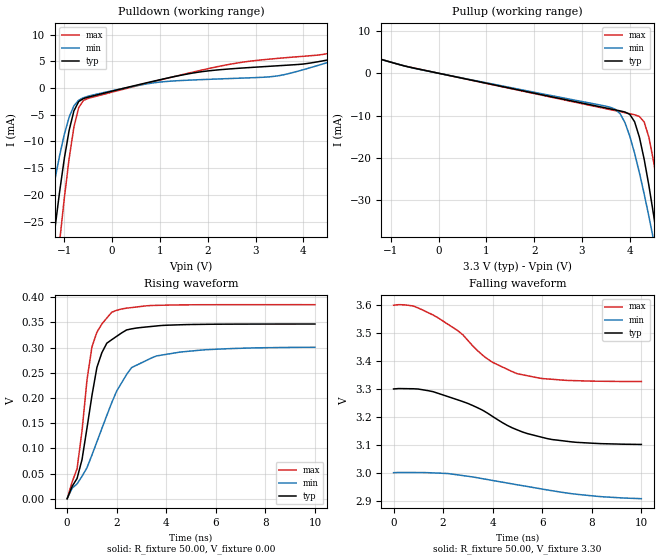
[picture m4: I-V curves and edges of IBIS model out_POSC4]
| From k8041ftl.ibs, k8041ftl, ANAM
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|   Model out_POSC4
[Model]   out_POSC4
Model_type   Output
Polarity   Non-Inverting
Vmeas =  1.50V
C_comp   1.76e-12F   1.76e-12F   1.76e-12F
[Temperature Range]   25   125   0
[Voltage Range]   3.30V   3.00V   3.60V
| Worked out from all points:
|   slope of the pulldown table from 0 to 0.495 V, typ, clamps not added: 458 ohm
|   slope of the pullup table from 0 to 0.495 V, typ, clamps not added: 422 ohm
|   rising waveform, R_fixture 50.00, V_fixture 0.00: 20-80 % time 760ps typ, 1.54ns min, 599ps max; typ from 0 V to 0.347 V
|   falling waveform, R_fixture 50.00, V_fixture 3.30: 20-80 % time 2.76ns typ, 3.72ns min, 2.37ns max; typ from 3.3 V to 3.1 V
[Pullup]
| voltage   I(typ)   I(min)   I(max)
-3.3V     10.25mA    9.917mA    10.39mA
-700mV    1.694mA    1.73mA     1.708mA
3.6V      -8.442mA   -8.078mA   -8.625mA
3.9V      -9.176mA   -11.73mA   -9.339mA
4.1V      -11.48mA   -18.95mA   -9.827mA
4.2V      -15.13mA   -23.55mA   -10.22mA
4.3V      -20.37mA   -28.59mA   -11.55mA
4.4V      -26.69mA   -33.97mA   -15.21mA
4.5V      -33.76mA   -39.63mA   -21.1mA
4.6V      -41.37mA   -45.52mA   -28.45mA
4.7V      -49.39mA   -51.59mA   -36.75mA
6.6V      -220.5mA   -180.8mA   -230.2mA
[Pulldown]
| voltage   I(typ)   I(min)   I(max)
-3.3V     -213.4mA   -153.5mA   -253.4mA
-1.4V     -42.2mA    -27.72mA   -57.03mA
-1.2V     -26.56mA   -17.29mA   -37.84mA
-1.1V     -19.49mA   -12.68mA   -28.87mA
-900mV    -7.925mA   -5.462mA   -13.21mA
-800mV    -4.274mA   -3.335mA   -7.319mA
-700mV    -2.528mA   -2.275mA   -3.652mA
-600mV    -1.965mA   -1.807mA   -2.322mA
1.7V      2.827mA    1.517mA    3.007mA
3.5V      4.191mA    2.335mA    5.582mA
4.7V      5.662mA    5.326mA    6.769mA
6.6V      11.08mA    10.9mA     11.07mA
[Ramp]
| variable   typ   min   max
dV/dt_r   0.21/7.26e-10   0.18/1.53e-09   0.23/5.55e-10
dV/dt_f   0.12/2.76e-09   0.06/3.74e-09   0.17/2.39e-09
R_load = 50.00
[Rising Waveform]
R_fixture = 50.00
V_fixture = 0.00
V_fixture_min = 0.00
V_fixture_max = 0.00
| time   V(typ)   V(min)   V(max)
0s        5.76uV     4.977uV    7.621uV
400ps     40.24mV    29.41mV    59.59mV
600ps     77.83mV    44.48mV    134.8mV
800ps     140.4mV    61.54mV    235.9mV
1ns       204.8mV    86.79mV    301.6mV
1.4ns     290mV      139.3mV    347mV
1.8ns     315.9mV    190.9mV    370.4mV
2.6ns     337.4mV    260.4mV    379.6mV
3.6ns     343.1mV    283.5mV    384mV
10ns      346.9mV    300.8mV    385.4mV
[Falling Waveform]
R_fixture = 50.00
V_fixture = 3.30
V_fixture_min = 3.00
V_fixture_max = 3.60
| time   V(typ)   V(min)   V(max)
0s        3.3V       3V         3.6V
800ps     3.301V     3.001V     3.597V
1.6ns     3.29V      2.999V     3.565V
2.6ns     3.261V     2.992V     3.508V
3.4ns     3.232V     2.982V     3.436V
3.8ns     3.213V     2.975V     3.407V
5ns       3.153V     2.957V     3.354V
6.2ns     3.122V     2.938V     3.336V
7.2ns     3.11V      2.925V     3.33V
10ns      3.101V     2.907V     3.327V
